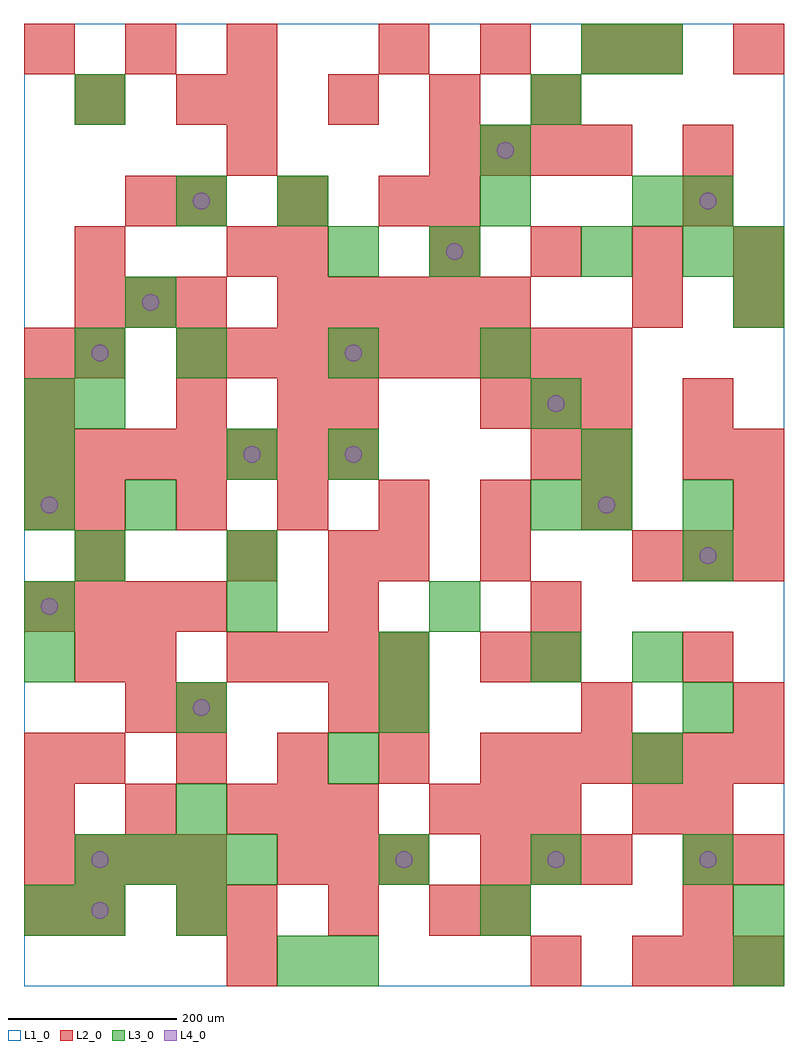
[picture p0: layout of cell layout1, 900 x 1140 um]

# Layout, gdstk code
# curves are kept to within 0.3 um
import gdstk
lib = gdstk.Library(unit=1e-6, precision=1e-09)
def R(c, l, rs):  # rectangles x0, y0, x1, y1
    for r in rs: c.add(gdstk.rectangle(r[:2], r[2:], *l))
def A(c, l, x, y, w, h, nx, ny, dx, dy):  # array of equal rectangles
    R(c, l, [(x+i*dx, y+j*dy, x+i*dx+w, y+j*dy+h) for i in range(nx) for j in range(ny)])
def P(c, l, *ps):  # polygons
    for p in ps: c.add(gdstk.Polygon(p, *l))
L1_0 = (1, 0)
L2_0 = (2, 0)
L3_0 = (3, 0)
L4_0 = (4, 0)

layout1 = lib.new_cell('layout1')
R(layout1, L1_0, [(0,0,900,1140)])
A(layout1, L2_0, 720, 0, 60, 60, 3, 2, 60, 480)
A(layout1, L2_0, 240, 60, 60, 60, 3, 1, 120, 0)
A(layout1, L2_0, 780, 60, 60, 60, 1, 3, 0, 60)
A(layout1, L2_0, 0, 120, 60, 60, 4, 2, 60, 300)
A(layout1, L2_0, 300, 120, 60, 60, 3, 1, 60, 0)
A(layout1, L2_0, 540, 120, 60, 60, 3, 2, 60, 540)
A(layout1, L2_0, 0, 180, 60, 60, 3, 2, 120, 900)
A(layout1, L2_0, 360, 180, 60, 60, 1, 3, 0, 120)
A(layout1, L2_0, 480, 180, 60, 60, 3, 1, 60, 0)
A(layout1, L2_0, 60, 240, 60, 60, 5, 1, 120, 0)
A(layout1, L2_0, 600, 240, 60, 60, 5, 1, 60, 0)
A(layout1, L2_0, 180, 300, 60, 60, 1, 3, 0, 360)
A(layout1, L2_0, 240, 360, 60, 60, 4, 1, 60, 0)
A(layout1, L2_0, 60, 540, 60, 60, 6, 1, 120, 0)
A(layout1, L2_0, 0, 600, 60, 60, 7, 1, 60, 0)
A(layout1, L2_0, 180, 720, 60, 60, 9, 1, 60, 0)
A(layout1, L2_0, 60, 780, 60, 60, 3, 1, 60, 0)
A(layout1, L2_0, 300, 780, 60, 60, 5, 1, 60, 0)
A(layout1, L2_0, 480, 840, 60, 60, 4, 1, 120, 0)
A(layout1, L2_0, 180, 900, 60, 60, 3, 1, 120, 0)
A(layout1, L2_0, 480, 960, 60, 60, 4, 1, 60, 0)
A(layout1, L2_0, 240, 1020, 60, 60, 4, 1, 120, 0)
A(layout1, L2_0, 420, 1080, 60, 60, 3, 1, 120, 0)
R(layout1, L2_0, [(240,0,300,60), (600,0,660,60), (0,60,60,120), (60,60,120,120), (180,60,240,120), (540,60,600,120), (840,120,900,180), (300,180,360,240), (720,180,780,240), (0,240,60,300), (120,300,180,360), (420,300,480,360), (660,300,720,360), (840,300,900,360), (60,360,120,420), (120,360,180,420), (540,360,600,420), (600,360,660,420), (780,360,840,420), (600,420,660,480), (60,480,120,540), (240,480,300,540), (360,480,420,540), (420,480,480,540), (540,480,600,540), (0,540,60,600), (840,540,900,600), (600,600,660,660), (660,600,720,660), (780,600,840,660), (840,600,900,660), (0,660,60,720), (300,660,360,720), (360,660,420,720), (780,660,840,720), (0,720,60,780), (60,720,120,780), (720,780,780,840), (840,780,900,840), (60,840,120,900), (240,840,300,900), (300,840,360,900), (120,900,180,960), (480,900,540,960), (780,900,840,960), (240,960,300,1020), (780,960,840,1020), (60,1020,120,1080), (720,1080,780,1140), (840,1080,900,1140)])
A(layout1, L3_0, 180, 60, 60, 60, 1, 3, 0, 120)
A(layout1, L3_0, 60, 120, 60, 60, 4, 1, 60, 0)
A(layout1, L3_0, 420, 120, 60, 60, 3, 1, 180, 0)
A(layout1, L3_0, 0, 420, 60, 60, 3, 1, 240, 0)
A(layout1, L3_0, 0, 540, 60, 60, 1, 3, 0, 60)
A(layout1, L3_0, 660, 600, 60, 60, 1, 3, 0, 240)
A(layout1, L3_0, 180, 720, 60, 60, 3, 1, 180, 0)
R(layout1, L3_0, [(300,0,360,60), (360,0,420,60), (840,0,900,60), (0,60,60,120), (60,60,120,120), (540,60,600,120), (840,60,900,120), (360,240,420,300), (720,240,780,300), (420,300,480,360), (780,300,840,360), (0,360,60,420), (420,360,480,420), (600,360,660,420), (720,360,780,420), (60,480,120,540), (240,480,300,540), (780,480,840,540), (120,540,180,600), (600,540,660,600), (660,540,720,600), (780,540,840,600), (240,600,300,660), (360,600,420,660), (60,660,120,720), (600,660,660,720), (60,720,120,780), (120,780,180,840), (840,780,900,840), (360,840,420,900), (480,840,540,900), (780,840,840,900), (840,840,900,900), (180,900,240,960), (300,900,360,960), (540,900,600,960), (720,900,780,960), (780,900,840,960), (540,960,600,1020), (60,1020,120,1080), (600,1020,660,1080), (720,1080,780,1140)])
P(layout1, L4_0, [(40,450),(39.239,453.827),(37.071,457.071),(33.827,459.239),(30,460),(26.173,459.239),(22.929,457.071),(20.761,453.827),(20,450),(20.761,446.173),(22.929,442.929),(26.173,440.761),(30,440),(33.827,440.761),(37.071,442.929),(39.239,446.173)],
  [(40,570),(39.239,573.827),(37.071,577.071),(33.827,579.239),(30,580),(26.173,579.239),(22.929,577.071),(20.761,573.827),(20,570),(20.761,566.173),(22.929,562.929),(26.173,560.761),(30,560),(33.827,560.761),(37.071,562.929),(39.239,566.173)],
  [(100,90),(99.239,93.827),(97.071,97.071),(93.827,99.239),(90,100),(86.173,99.239),(82.929,97.071),(80.761,93.827),(80,90),(80.761,86.173),(82.929,82.929),(86.173,80.761),(90,80),(93.827,80.761),(97.071,82.929),(99.239,86.173)],
  [(100,150),(99.239,153.827),(97.071,157.071),(93.827,159.239),(90,160),(86.173,159.239),(82.929,157.071),(80.761,153.827),(80,150),(80.761,146.173),(82.929,142.929),(86.173,140.761),(90,140),(93.827,140.761),(97.071,142.929),(99.239,146.173)],
  [(100,750),(99.239,753.827),(97.071,757.071),(93.827,759.239),(90,760),(86.173,759.239),(82.929,757.071),(80.761,753.827),(80,750),(80.761,746.173),(82.929,742.929),(86.173,740.761),(90,740),(93.827,740.761),(97.071,742.929),(99.239,746.173)],
  [(160,810),(159.239,813.827),(157.071,817.071),(153.827,819.239),(150,820),(146.173,819.239),(142.929,817.071),(140.761,813.827),(140,810),(140.761,806.173),(142.929,802.929),(146.173,800.761),(150,800),(153.827,800.761),(157.071,802.929),(159.239,806.173)],
  [(220,330),(219.239,333.827),(217.071,337.071),(213.827,339.239),(210,340),(206.173,339.239),(202.929,337.071),(200.761,333.827),(200,330),(200.761,326.173),(202.929,322.929),(206.173,320.761),(210,320),(213.827,320.761),(217.071,322.929),(219.239,326.173)],
  [(220,930),(219.239,933.827),(217.071,937.071),(213.827,939.239),(210,940),(206.173,939.239),(202.929,937.071),(200.761,933.827),(200,930),(200.761,926.173),(202.929,922.929),(206.173,920.761),(210,920),(213.827,920.761),(217.071,922.929),(219.239,926.173)],
  [(280,630),(279.239,633.827),(277.071,637.071),(273.827,639.239),(270,640),(266.173,639.239),(262.929,637.071),(260.761,633.827),(260,630),(260.761,626.173),(262.929,622.929),(266.173,620.761),(270,620),(273.827,620.761),(277.071,622.929),(279.239,626.173)],
  [(400,630),(399.239,633.827),(397.071,637.071),(393.827,639.239),(390,640),(386.173,639.239),(382.929,637.071),(380.761,633.827),(380,630),(380.761,626.173),(382.929,622.929),(386.173,620.761),(390,620),(393.827,620.761),(397.071,622.929),(399.239,626.173)],
  [(400,750),(399.239,753.827),(397.071,757.071),(393.827,759.239),(390,760),(386.173,759.239),(382.929,757.071),(380.761,753.827),(380,750),(380.761,746.173),(382.929,742.929),(386.173,740.761),(390,740),(393.827,740.761),(397.071,742.929),(399.239,746.173)],
  [(460,150),(459.239,153.827),(457.071,157.071),(453.827,159.239),(450,160),(446.173,159.239),(442.929,157.071),(440.761,153.827),(440,150),(440.761,146.173),(442.929,142.929),(446.173,140.761),(450,140),(453.827,140.761),(457.071,142.929),(459.239,146.173)],
  [(520,870),(519.239,873.827),(517.071,877.071),(513.827,879.239),(510,880),(506.173,879.239),(502.929,877.071),(500.761,873.827),(500,870),(500.761,866.173),(502.929,862.929),(506.173,860.761),(510,860),(513.827,860.761),(517.071,862.929),(519.239,866.173)],
  [(580,990),(579.239,993.827),(577.071,997.071),(573.827,999.239),(570,1000),(566.173,999.239),(562.929,997.071),(560.761,993.827),(560,990),(560.761,986.173),(562.929,982.929),(566.173,980.761),(570,980),(573.827,980.761),(577.071,982.929),(579.239,986.173)],
  [(640,150),(639.239,153.827),(637.071,157.071),(633.827,159.239),(630,160),(626.173,159.239),(622.929,157.071),(620.761,153.827),(620,150),(620.761,146.173),(622.929,142.929),(626.173,140.761),(630,140),(633.827,140.761),(637.071,142.929),(639.239,146.173)],
  [(640,690),(639.239,693.827),(637.071,697.071),(633.827,699.239),(630,700),(626.173,699.239),(622.929,697.071),(620.761,693.827),(620,690),(620.761,686.173),(622.929,682.929),(626.173,680.761),(630,680),(633.827,680.761),(637.071,682.929),(639.239,686.173)],
  [(700,570),(699.239,573.827),(697.071,577.071),(693.827,579.239),(690,580),(686.173,579.239),(682.929,577.071),(680.761,573.827),(680,570),(680.761,566.173),(682.929,562.929),(686.173,560.761),(690,560),(693.827,560.761),(697.071,562.929),(699.239,566.173)],
  [(820,150),(819.239,153.827),(817.071,157.071),(813.827,159.239),(810,160),(806.173,159.239),(802.929,157.071),(800.761,153.827),(800,150),(800.761,146.173),(802.929,142.929),(806.173,140.761),(810,140),(813.827,140.761),(817.071,142.929),(819.239,146.173)],
  [(820,510),(819.239,513.827),(817.071,517.071),(813.827,519.239),(810,520),(806.173,519.239),(802.929,517.071),(800.761,513.827),(800,510),(800.761,506.173),(802.929,502.929),(806.173,500.761),(810,500),(813.827,500.761),(817.071,502.929),(819.239,506.173)],
  [(820,930),(819.239,933.827),(817.071,937.071),(813.827,939.239),(810,940),(806.173,939.239),(802.929,937.071),(800.761,933.827),(800,930),(800.761,926.173),(802.929,922.929),(806.173,920.761),(810,920),(813.827,920.761),(817.071,922.929),(819.239,926.173)])

lib.write_gds('layout1.gds')
